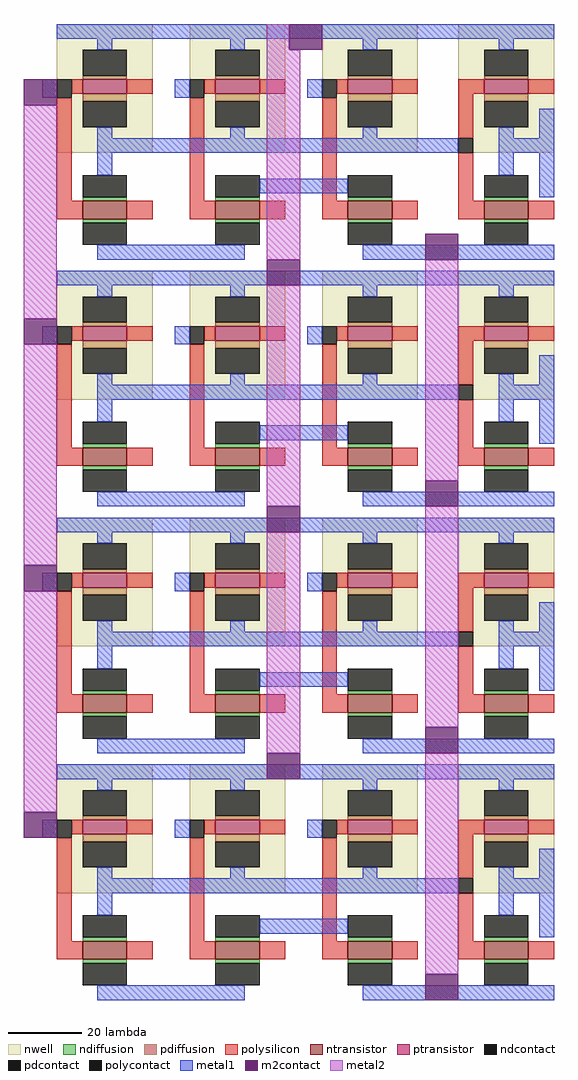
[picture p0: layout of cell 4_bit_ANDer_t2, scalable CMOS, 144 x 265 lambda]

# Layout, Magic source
magic
tech scmos
<< metal1 >>
rect 135 17 139 22
rect 135 -50 139 -45
rect 135 -117 139 -112
rect 135 -184 139 -179
<< m2contact >>
rect 67 57 76 64
rect -5 42 4 49
rect 104 0 113 7
rect 61 -7 70 0
rect -5 -23 4 -16
rect 104 -67 113 -60
rect 61 -74 70 -67
rect -5 -90 4 -83
rect 104 -134 113 -127
rect 61 -141 70 -134
rect -5 -157 4 -150
rect 104 -201 113 -194
<< metal2 >>
rect 61 57 67 64
rect -5 -16 4 42
rect -5 -83 4 -23
rect -5 -150 4 -90
rect 61 0 70 57
rect 61 -67 70 -7
rect 61 -134 70 -74
rect 104 -60 113 0
rect 104 -127 113 -67
rect 104 -194 113 -134
use 3_input_AND  3_input_AND_3
transform 1 0 49 0 1 -162
box -49 -39 90 25
use 3_input_AND  3_input_AND_2
transform 1 0 49 0 1 -95
box -49 -39 90 25
use 3_input_AND  3_input_AND_1
transform 1 0 49 0 1 -28
box -49 -39 90 25
use 3_input_AND  3_input_AND_0
transform 1 0 49 0 1 39
box -49 -39 90 25
<< end >>

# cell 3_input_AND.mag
magic
tech scmos
<< nwell >>
rect -45 -10 -19 25
rect -9 -10 17 25
rect 27 -10 53 25
rect 64 -10 90 25
<< ntransistor >>
rect -38 -28 -26 -23
rect -2 -28 10 -23
rect 34 -28 46 -23
rect 71 -28 83 -23
<< ptransistor >>
rect -38 6 -26 10
rect -2 6 10 10
rect 34 6 46 10
rect 71 6 83 10
<< ndiffusion >>
rect -38 -23 -26 -22
rect -2 -23 10 -22
rect 34 -23 46 -22
rect 71 -23 83 -22
rect -38 -29 -26 -28
rect -2 -29 10 -28
rect 34 -29 46 -28
rect 71 -29 83 -28
<< pdiffusion >>
rect -38 10 -26 11
rect -2 10 10 11
rect 34 10 46 11
rect 71 10 83 11
rect -38 4 -26 6
rect -2 4 10 6
rect 34 4 46 6
rect 71 4 83 6
<< ndcontact >>
rect -38 -22 -26 -16
rect -2 -22 10 -16
rect 34 -22 46 -16
rect 71 -22 83 -16
rect -38 -35 -26 -29
rect -2 -35 10 -29
rect 34 -35 46 -29
rect 71 -35 83 -29
<< pdcontact >>
rect -38 11 -26 18
rect -2 11 10 18
rect 34 11 46 18
rect 71 11 83 18
rect -38 -3 -26 4
rect -2 -3 10 4
rect 34 -3 46 4
rect 71 -3 83 4
<< polysilicon >>
rect -41 6 -38 10
rect -26 6 -19 10
rect -45 -23 -41 5
rect -5 6 -2 10
rect 10 6 17 10
rect -9 -23 -5 5
rect 31 6 34 10
rect 46 6 53 10
rect 64 6 71 10
rect 83 6 90 10
rect 27 -23 31 5
rect 64 -6 68 6
rect 64 -23 68 -10
rect -45 -28 -38 -23
rect -26 -28 -19 -23
rect -9 -28 -2 -23
rect 10 -28 17 -23
rect 27 -28 34 -23
rect 46 -28 53 -23
rect 64 -28 71 -23
rect 83 -28 90 -23
<< polycontact >>
rect -45 5 -41 10
rect -9 5 -5 10
rect 27 5 31 10
rect 64 -10 68 -6
<< metal1 >>
rect -45 21 90 25
rect -34 18 -30 21
rect 2 18 6 21
rect 38 18 42 21
rect 75 18 79 21
rect -49 5 -45 10
rect -13 5 -9 10
rect 23 5 27 10
rect -34 -6 -30 -3
rect 2 -6 6 -3
rect 38 -6 42 -3
rect 75 -6 79 -3
rect 86 -6 90 2
rect -34 -10 64 -6
rect 75 -10 90 -6
rect -34 -16 -30 -10
rect 75 -16 79 -10
rect 10 -21 34 -17
rect 86 -17 90 -10
rect -34 -39 6 -35
rect 38 -39 90 -35
<< end >>
